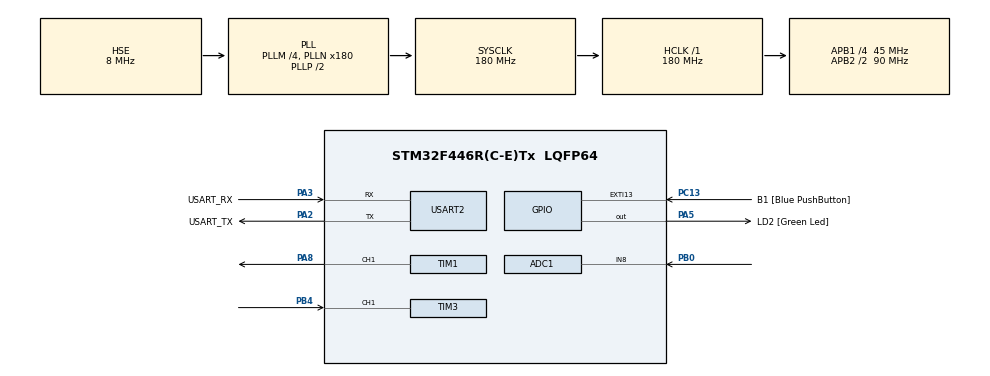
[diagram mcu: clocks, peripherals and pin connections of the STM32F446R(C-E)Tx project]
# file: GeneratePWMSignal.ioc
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ADC1.Channel-2\#ChannelRegularConversion=ADC_CHANNEL_8
ADC1.NbrOfConversionFlag=1
ADC1.Rank-2\#ChannelRegularConversion=1
ADC1.SamplingTime-2\#ChannelRegularConversion=ADC_SAMPLETIME_3CYCLES
ADC1.master=1
Dma.Request0=TIM1_CH1
Dma.TIM1_CH1.0.Direction=DMA_MEMORY_TO_PERIPH
Dma.TIM1_CH1.0.FIFOMode=DMA_FIFOMODE_DISABLE
Dma.TIM1_CH1.0.Instance=DMA2_Stream1
Dma.TIM1_CH1.0.MemDataAlignment=DMA_MDATAALIGN_HALFWORD
Dma.TIM1_CH1.0.MemInc=DMA_MINC_ENABLE
Dma.TIM1_CH1.0.Mode=DMA_NORMAL
Dma.TIM1_CH1.0.PeriphDataAlignment=DMA_PDATAALIGN_HALFWORD
Dma.TIM1_CH1.0.PeriphInc=DMA_PINC_DISABLE
Dma.TIM1_CH1.0.Priority=DMA_PRIORITY_LOW
Mcu.Family=STM32F4
Mcu.Name=STM32F446R(C-E)Tx
Mcu.Package=LQFP64
NVIC.DMA2_Stream1_IRQn=true\:0\:0\:false\:false\:true\:false\:true
NVIC.PriorityGroup=NVIC_PRIORITYGROUP_0
PA13.GPIO_Label=TMS
PA13.Mode=Serial_Wire
PA13.Signal=SYS_JTMS-SWDIO
PA14.GPIO_Label=TCK
PA14.Mode=Serial_Wire
PA14.Signal=SYS_JTCK-SWCLK
PA2.GPIO_Label=USART_TX
PA2.Mode=Asynchronous
PA2.Signal=USART2_TX
PA3.GPIO_Label=USART_RX
PA3.Mode=Asynchronous
PA3.Signal=USART2_RX
PA5.GPIO_Label=LD2 [Green Led]
PA5.Signal=GPIO_Output
PA8.Signal=S_TIM1_CH1
PB0.Signal=ADCx_IN8
PB3.GPIO_Label=SWO
PB3.Signal=SYS_JTDO-SWO
PB4.Signal=S_TIM3_CH1
PC13.GPIO_Label=B1 [Blue PushButton]
PC13.GPIO_ModeDefaultEXTI=GPIO_MODE_IT_FALLING
PC13.Signal=GPXTI13
PC14-OSC32_IN.Mode=LSE-External-Oscillator
PC14-OSC32_IN.Signal=RCC_OSC32_IN
PC15-OSC32_OUT.Mode=LSE-External-Oscillator
PC15-OSC32_OUT.Signal=RCC_OSC32_OUT
PH0-OSC_IN.Mode=HSE-External-Oscillator
PH0-OSC_IN.Signal=RCC_OSC_IN
PH1-OSC_OUT.Mode=HSE-External-Oscillator
PH1-OSC_OUT.Signal=RCC_OSC_OUT
ProjectManager.HeapSize=0x200
ProjectManager.StackSize=0x400
ProjectManager.TargetToolchain=STM32CubeIDE
RCC.48MHZClocksFreq_Value=84000000
RCC.AHBFreq_Value=180000000
RCC.APB1CLKDivider=RCC_HCLK_DIV4
RCC.APB1Freq_Value=45000000
RCC.APB1TimFreq_Value=90000000
RCC.APB2CLKDivider=RCC_HCLK_DIV2
RCC.APB2Freq_Value=90000000
RCC.APB2TimFreq_Value=180000000
RCC.CortexFreq_Value=180000000
RCC.FLatency-AdvancedSettings=FLASH_LATENCY_5
RCC.HCLKFreq_Value=180000000
RCC.HSE_VALUE=8000000
RCC.HSI_VALUE=16000000
RCC.PLLM=4
RCC.PLLN=180
RCC.PLLSourceVirtual=RCC_PLLSOURCE_HSE
RCC.SYSCLKFreq_VALUE=180000000
RCC.SYSCLKSource=RCC_SYSCLKSOURCE_PLLCLK
RCC.USBFreq_Value=180000000
RCC.VCOOutputFreq_Value=360000000
SH.ADCx_IN8.0=ADC1_IN8,IN8
SH.S_TIM1_CH1.0=TIM1_CH1,PWM Generation1 CH1
SH.S_TIM3_CH1.0=TIM3_CH1,PWM_Input_1
TIM1.Channel-PWM\ Generation1\ CH1=TIM_CHANNEL_1
TIM1.Period=100-1
TIM1.Prescaler=72-1
USART2.VirtualMode=VM_ASYNC
VP_TIM1_VS_ClockSourceINT.Mode=Internal
board=NUCLEO-F446RE

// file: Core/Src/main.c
/* USER CODE BEGIN Header */
/**
  ******************************************************************************
  * @file           : main.c
  * @brief          : Main program body
  ******************************************************************************
  * @attention
  *
  * Copyright (c) 2022 STMicroelectronics.
  * All rights reserved.
  *
  * This software is licensed under terms that can be found in the LICENSE file
  * in the root directory of this software component.
  * If no LICENSE file comes with this software, it is provided AS-IS.
  *
  ******************************************************************************
  */
/* USER CODE END Header */
#include "main.h"

/* USER CODE BEGIN Includes */
#include <stdio.h>
#include "stm32f4xx_hal_tim.h"

/* USER CODE END Includes */

ADC_HandleTypeDef hadc1;

TIM_HandleTypeDef htim1;
TIM_HandleTypeDef htim3;
DMA_HandleTypeDef hdma_tim1_ch1;

UART_HandleTypeDef huart2;

void SystemClock_Config(void);
static void MX_GPIO_Init(void);
static void MX_USART2_UART_Init(void);
static void MX_DMA_Init(void);
static void MX_TIM1_Init(void);
static void MX_TIM3_Init(void);
static void MX_ADC1_Init(void);
/* USER CODE BEGIN PFP */
#ifdef __GNUC__
#define PUTCHAR_PROTOTYPE int __io_putchar(int ch)
#else
#define PUTCHAR_PROTOTYPE int fputc(int ch, FILE *f)
#endif

PUTCHAR_PROTOTYPE {
    HAL_UART_Transmit(&huart2, (uint8_t *)&ch, 1, HAL_MAX_DELAY);
    return ch;
}
/* USER CODE END PFP */

/* USER CODE BEGIN 0 */
// Posso anche inviare dei dati direttamente tramite DMA
uint16_t pwmDMAData[10] = {1, 2, 3, 4, 5, 6, 7, 8, 9, 0};
uint16_t gyroZOffset = 0;

void cHAL_TIM_IC_CaptureCallback(TIM_HandleTypeDef *htim)
{
    if (htim->Channel == HAL_TIM_ACTIVE_CHANNEL_1) {
        //ICValue = HAL_TIM_ReadCapturedValue(htim, TIM_CHANNEL_1);

        //if (ICValue != 0) {
            //duty = (HAL_TIM_ReadCapturedValue(htim, TIM_CHANNEL_2) * 100) / ICValue;
        //}
    }
}

void gyro_calibration(ADC_HandleTypeDef *hadcz, uint16_t *outZOffset)
{
    uint16_t REPETITION = 2000;
    *outZOffset = 0;
    uint32_t sum = 0;

    for (int i = 0; i < REPETITION; i++) {
    	HAL_ADC_Start(hadcz);
    	HAL_ADC_PollForConversion(hadcz, HAL_MAX_DELAY);
        sum += HAL_ADC_GetValue(hadcz);
    }

    *outZOffset = sum / REPETITION;

    printf("gyroZOffset: %d\n", *outZOffset);
}
/* USER CODE END 0 */

int main(void)
{

    /* MCU Configuration--------------------------------------------------------*/

    /* Reset of all peripherals, Initializes the Flash interface and the Systick. */
    HAL_Init();

    /* Configure the system clock */
    SystemClock_Config();

    /* Initialize all configured peripherals */
    MX_GPIO_Init();
    MX_USART2_UART_Init();
    MX_DMA_Init();
    MX_TIM1_Init();
    MX_TIM3_Init();
    MX_ADC1_Init();
    /* USER CODE BEGIN 2 */
    //TIM1->CCR1 = 25;
    //HAL_TIM_PWM_Start(&htim1, TIM_CHANNEL_1);
    //HAL_TIM_IC_Start_IT(&htim3, TIM_CHANNEL_1);
    //HAL_TIM_IC_Start(&htim3, TIM_CHANNEL_2);
    HAL_ADC_Start(&hadc1);
	HAL_ADC_PollForConversion(&hadc1, HAL_MAX_DELAY);
	gyro_calibration(&hadc1, &gyroZOffset);

    /* USER CODE END 2 */

    /* Infinite loop */
    /* USER CODE BEGIN WHILE */
    uint16_t raw = 0;
    while (1) {
    	HAL_ADC_Start(&hadc1);
    	HAL_ADC_PollForConversion(&hadc1, HAL_MAX_DELAY);
        raw = HAL_ADC_GetValue(&hadc1);
        //HAL_Delay(20);

        //printf("x:%d\n", raw - gyroZOffset);
        /* USER CODE END WHILE */

    }
}

void SystemClock_Config(void)
{
    RCC_OscInitTypeDef RCC_OscInitStruct = {0};
    RCC_ClkInitTypeDef RCC_ClkInitStruct = {0};

    /** Configure the main internal regulator output voltage
    */
    __HAL_RCC_PWR_CLK_ENABLE();
    __HAL_PWR_VOLTAGESCALING_CONFIG(PWR_REGULATOR_VOLTAGE_SCALE1);
    /** Initializes the RCC Oscillators according to the specified parameters
    * in the RCC_OscInitTypeDef structure.
    */
    RCC_OscInitStruct.OscillatorType = RCC_OSCILLATORTYPE_HSE;
    RCC_OscInitStruct.HSEState = RCC_HSE_ON;
    RCC_OscInitStruct.PLL.PLLState = RCC_PLL_ON;
    RCC_OscInitStruct.PLL.PLLSource = RCC_PLLSOURCE_HSE;
    RCC_OscInitStruct.PLL.PLLM = 4;
    RCC_OscInitStruct.PLL.PLLN = 180;
    RCC_OscInitStruct.PLL.PLLP = RCC_PLLP_DIV2;
    RCC_OscInitStruct.PLL.PLLQ = 2;
    RCC_OscInitStruct.PLL.PLLR = 2;
    if (HAL_RCC_OscConfig(&RCC_OscInitStruct) != HAL_OK) {
        Error_Handler();
    }
    /** Activate the Over-Drive mode
    */
    if (HAL_PWREx_EnableOverDrive() != HAL_OK) {
        Error_Handler();
    }
    /** Initializes the CPU, AHB and APB buses clocks
    */
    RCC_ClkInitStruct.ClockType = RCC_CLOCKTYPE_HCLK | RCC_CLOCKTYPE_SYSCLK
                                  | RCC_CLOCKTYPE_PCLK1 | RCC_CLOCKTYPE_PCLK2;
    RCC_ClkInitStruct.SYSCLKSource = RCC_SYSCLKSOURCE_PLLCLK;
    RCC_ClkInitStruct.AHBCLKDivider = RCC_SYSCLK_DIV1;
    RCC_ClkInitStruct.APB1CLKDivider = RCC_HCLK_DIV4;
    RCC_ClkInitStruct.APB2CLKDivider = RCC_HCLK_DIV2;

    if (HAL_RCC_ClockConfig(&RCC_ClkInitStruct, FLASH_LATENCY_5) != HAL_OK) {
        Error_Handler();
    }
}

static void MX_ADC1_Init(void)
{

    ADC_ChannelConfTypeDef sConfig = {0};

    /** Configure the global features of the ADC (Clock, Resolution, Data Alignment and number of conversion)
    */
    hadc1.Instance = ADC1;
    hadc1.Init.ClockPrescaler = ADC_CLOCK_SYNC_PCLK_DIV4;
    hadc1.Init.Resolution = ADC_RESOLUTION_12B;
    hadc1.Init.ScanConvMode = DISABLE;
    hadc1.Init.ContinuousConvMode = DISABLE;
    hadc1.Init.DiscontinuousConvMode = DISABLE;
    hadc1.Init.ExternalTrigConvEdge = ADC_EXTERNALTRIGCONVEDGE_NONE;
    hadc1.Init.ExternalTrigConv = ADC_SOFTWARE_START;
    hadc1.Init.DataAlign = ADC_DATAALIGN_RIGHT;
    hadc1.Init.NbrOfConversion = 1;
    hadc1.Init.DMAContinuousRequests = DISABLE;
    hadc1.Init.EOCSelection = ADC_EOC_SINGLE_CONV;
    if (HAL_ADC_Init(&hadc1) != HAL_OK) {
        Error_Handler();
    }
    /** Configure for the selected ADC regular channel its corresponding rank in the sequencer and its sample time.
    */
    sConfig.Channel = ADC_CHANNEL_8;
    sConfig.Rank = 1;
    sConfig.SamplingTime = ADC_SAMPLETIME_3CYCLES;
    if (HAL_ADC_ConfigChannel(&hadc1, &sConfig) != HAL_OK) {
        Error_Handler();
    }

}

static void MX_TIM1_Init(void)
{

    TIM_ClockConfigTypeDef sClockSourceConfig = {0};
    TIM_MasterConfigTypeDef sMasterConfig = {0};
    TIM_OC_InitTypeDef sConfigOC = {0};
    TIM_BreakDeadTimeConfigTypeDef sBreakDeadTimeConfig = {0};

    htim1.Instance = TIM1;
    htim1.Init.Prescaler = 72 - 1;
    htim1.Init.CounterMode = TIM_COUNTERMODE_UP;
    htim1.Init.Period = 100 - 1;
    htim1.Init.ClockDivision = TIM_CLOCKDIVISION_DIV1;
    htim1.Init.RepetitionCounter = 0;
    htim1.Init.AutoReloadPreload = TIM_AUTORELOAD_PRELOAD_DISABLE;
    if (HAL_TIM_Base_Init(&htim1) != HAL_OK) {
        Error_Handler();
    }
    sClockSourceConfig.ClockSource = TIM_CLOCKSOURCE_INTERNAL;
    if (HAL_TIM_ConfigClockSource(&htim1, &sClockSourceConfig) != HAL_OK) {
        Error_Handler();
    }
    if (HAL_TIM_PWM_Init(&htim1) != HAL_OK) {
        Error_Handler();
    }
    sMasterConfig.MasterOutputTrigger = TIM_TRGO_RESET;
    sMasterConfig.MasterSlaveMode = TIM_MASTERSLAVEMODE_DISABLE;
    if (HAL_TIMEx_MasterConfigSynchronization(&htim1, &sMasterConfig) != HAL_OK) {
        Error_Handler();
    }
    sConfigOC.OCMode = TIM_OCMODE_PWM1;
    sConfigOC.Pulse = 0;
    sConfigOC.OCPolarity = TIM_OCPOLARITY_HIGH;
    sConfigOC.OCNPolarity = TIM_OCNPOLARITY_HIGH;
    sConfigOC.OCFastMode = TIM_OCFAST_DISABLE;
    sConfigOC.OCIdleState = TIM_OCIDLESTATE_RESET;
    sConfigOC.OCNIdleState = TIM_OCNIDLESTATE_RESET;
    if (HAL_TIM_PWM_ConfigChannel(&htim1, &sConfigOC, TIM_CHANNEL_1) != HAL_OK) {
        Error_Handler();
    }
    sBreakDeadTimeConfig.OffStateRunMode = TIM_OSSR_DISABLE;
    sBreakDeadTimeConfig.OffStateIDLEMode = TIM_OSSI_DISABLE;
    sBreakDeadTimeConfig.LockLevel = TIM_LOCKLEVEL_OFF;
    sBreakDeadTimeConfig.DeadTime = 0;
    sBreakDeadTimeConfig.BreakState = TIM_BREAK_DISABLE;
    sBreakDeadTimeConfig.BreakPolarity = TIM_BREAKPOLARITY_HIGH;
    sBreakDeadTimeConfig.AutomaticOutput = TIM_AUTOMATICOUTPUT_DISABLE;
    if (HAL_TIMEx_ConfigBreakDeadTime(&htim1, &sBreakDeadTimeConfig) != HAL_OK) {
        Error_Handler();
    }
    HAL_TIM_MspPostInit(&htim1);

}

static void MX_TIM3_Init(void)
{

    TIM_SlaveConfigTypeDef sSlaveConfig = {0};
    TIM_IC_InitTypeDef sConfigIC = {0};
    TIM_MasterConfigTypeDef sMasterConfig = {0};

    htim3.Instance = TIM3;
    htim3.Init.Prescaler = 0;
    htim3.Init.CounterMode = TIM_COUNTERMODE_UP;
    htim3.Init.Period = 65535;
    htim3.Init.ClockDivision = TIM_CLOCKDIVISION_DIV1;
    htim3.Init.AutoReloadPreload = TIM_AUTORELOAD_PRELOAD_DISABLE;
    if (HAL_TIM_IC_Init(&htim3) != HAL_OK) {
        Error_Handler();
    }
    sSlaveConfig.SlaveMode = TIM_SLAVEMODE_RESET;
    sSlaveConfig.InputTrigger = TIM_TS_TI1FP1;
    sSlaveConfig.TriggerPolarity = TIM_INPUTCHANNELPOLARITY_RISING;
    sSlaveConfig.TriggerPrescaler = TIM_ICPSC_DIV1;
    sSlaveConfig.TriggerFilter = 0;
    if (HAL_TIM_SlaveConfigSynchro(&htim3, &sSlaveConfig) != HAL_OK) {
        Error_Handler();
    }
    sConfigIC.ICPolarity = TIM_INPUTCHANNELPOLARITY_RISING;
    sConfigIC.ICSelection = TIM_ICSELECTION_DIRECTTI;
    sConfigIC.ICPrescaler = TIM_ICPSC_DIV1;
    sConfigIC.ICFilter = 0;
    if (HAL_TIM_IC_ConfigChannel(&htim3, &sConfigIC, TIM_CHANNEL_1) != HAL_OK) {
        Error_Handler();
    }
    sConfigIC.ICPolarity = TIM_INPUTCHANNELPOLARITY_FALLING;
    sConfigIC.ICSelection = TIM_ICSELECTION_INDIRECTTI;
    if (HAL_TIM_IC_ConfigChannel(&htim3, &sConfigIC, TIM_CHANNEL_2) != HAL_OK) {
        Error_Handler();
    }
    sMasterConfig.MasterOutputTrigger = TIM_TRGO_RESET;
    sMasterConfig.MasterSlaveMode = TIM_MASTERSLAVEMODE_DISABLE;
    if (HAL_TIMEx_MasterConfigSynchronization(&htim3, &sMasterConfig) != HAL_OK) {
        Error_Handler();
    }

}

static void MX_USART2_UART_Init(void)
{

    huart2.Instance = USART2;
    huart2.Init.BaudRate = 115200;
    huart2.Init.WordLength = UART_WORDLENGTH_8B;
    huart2.Init.StopBits = UART_STOPBITS_1;
    huart2.Init.Parity = UART_PARITY_NONE;
    huart2.Init.Mode = UART_MODE_TX_RX;
    huart2.Init.HwFlowCtl = UART_HWCONTROL_NONE;
    huart2.Init.OverSampling = UART_OVERSAMPLING_16;
    if (HAL_UART_Init(&huart2) != HAL_OK) {
        Error_Handler();
    }

}

static void MX_DMA_Init(void)
{

    /* DMA controller clock enable */
    __HAL_RCC_DMA2_CLK_ENABLE();

    /* DMA interrupt init */
    /* DMA2_Stream1_IRQn interrupt configuration */
    HAL_NVIC_SetPriority(DMA2_Stream1_IRQn, 0, 0);
    HAL_NVIC_EnableIRQ(DMA2_Stream1_IRQn);

}

static void MX_GPIO_Init(void)
{
    GPIO_InitTypeDef GPIO_InitStruct = {0};

    /* GPIO Ports Clock Enable */
    __HAL_RCC_GPIOC_CLK_ENABLE();
    __HAL_RCC_GPIOH_CLK_ENABLE();
    __HAL_RCC_GPIOA_CLK_ENABLE();
    __HAL_RCC_GPIOB_CLK_ENABLE();

    /*Configure GPIO pin Output Level */
    HAL_GPIO_WritePin(LD2_GPIO_Port, LD2_Pin, GPIO_PIN_RESET);

    /*Configure GPIO pin : B1_Pin */
    GPIO_InitStruct.Pin = B1_Pin;
    GPIO_InitStruct.Mode = GPIO_MODE_IT_FALLING;
    GPIO_InitStruct.Pull = GPIO_NOPULL;
    HAL_GPIO_Init(B1_GPIO_Port, &GPIO_InitStruct);

    /*Configure GPIO pin : LD2_Pin */
    GPIO_InitStruct.Pin = LD2_Pin;
    GPIO_InitStruct.Mode = GPIO_MODE_OUTPUT_PP;
    GPIO_InitStruct.Pull = GPIO_NOPULL;
    GPIO_InitStruct.Speed = GPIO_SPEED_FREQ_LOW;
    HAL_GPIO_Init(LD2_GPIO_Port, &GPIO_InitStruct);

}

void Error_Handler(void)
{
    __disable_irq();
    while (1) {
    }
}
